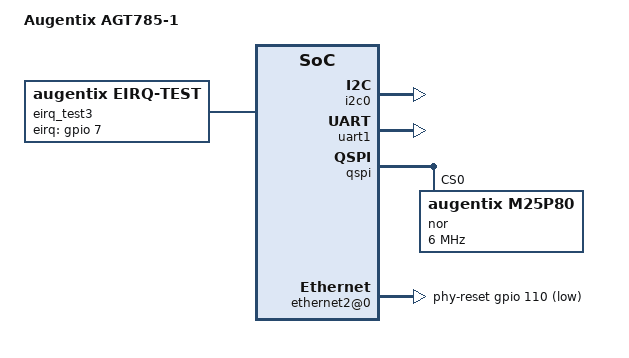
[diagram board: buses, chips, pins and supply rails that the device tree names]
/dts-v1/;
#include "hc1785.dtsi"

/ {
	model = "Augentix AGT785-1";

	soc@80000000 {
		i2c0: i2c@0 {
			status = "okay";
		};

		i2c1: i2c@1 {
			status = "disable";
			wm8731: wm8731@1a {
				compatible = "wm8731";
				reg = <0x1a>;
			status = "disable";
			};
		};

		i2c2: i2c@2 {
			status = "disable";
		};

		uart1: uart@1 {
			status = "okay";
		};

		uart2: uart@2 {
			status = "disable";
		};

		sdc0: sdhci0@0 {
			sdc-cd-gpio-num = <5>;
			sdpwren-gpios = <&gpio 46 GPIO_ACTIVE_LOW>;
			status = "disable";
		};

		sdc1: sdhci1@0 {
			// status = "okay";
		};

		sdc2: sdhci2@0 {
			// status = "okay";
		};

		pwm: pwm@0 {
			// status = "okay";
		};

		usb2_phy0: utmi_phy0@0 {
			//status = "okay";
			status = "disable";
		};

		usbc2: agtx-usb2@0 {
			dr_mode = "host";
			//status = "okay";
			status = "disable";
		};

		usb2_phy1: utmi_phy1@0 {
			//status = "okay";
			status = "disable";
		};

		usb3_phy: pipe3_phy@0 {
			//status = "okay";
			status = "disable";
		};

		usbc3: agtx-usb3@0 {
			dr_mode = "peripheral";
			//status = "okay";
			status = "disable";
		};

		mpp {
			vbs {
				size = <286>;
			};

			senif@0 {
				snsop-override = <1>;
				sensor0 {
					port = <1>;
				};
			};

			is@0 {
				isw-buf-num = <3>;
			};

			isp@0 {
				nrw-buf-num = <1>;
			};

			enc@0 {
				bsb-size = <0x200000 0x100000>;
				rd-buf-size = <0x60000>;
				snapshot-size = <0x60000>;
				rd-buf-num = <6>;
			};
		};

		qspi: spi@100 {
			status = "okay";
			nor@0{
				#address-cells = <1>;
				#size-cells = <1>;
				compatible = "augentix,m25p80", "augentix,spi-nor";
				reg = <0>;
				spi-max-frequency = <6000000>;
				spi-tx-bus-width = <1>;
				spi-rx-bus-width = <2>;
				m25p,fast-read;
				status = "okay";
			};
		};

		gpio: gpio@0 {
			pioc0_gpio = <0x0 0x0>;
			pioc1_gpio = <0x0 0x0>;
			pioc2_gpio = <0x0 0x0>;
			pioc3_gpio = <0x0 0x0>;
			status = "okay";
		};

		gpio_test: gpio_test {
			compatible = "augentix,gpio-test";
			pmuioc-gpios = <&gpio 49 GPIO_ACTIVE_HIGH>, <&gpio 50 GPIO_ACTIVE_HIGH>, <&gpio 51 GPIO_ACTIVE_HIGH>;
			pioc0-gpios = <&gpio 0 GPIO_ACTIVE_HIGH>, <&gpio 15 GPIO_ACTIVE_HIGH>, <&gpio 20 GPIO_ACTIVE_HIGH>, <&gpio 25 GPIO_ACTIVE_HIGH>, <&gpio 31 GPIO_ACTIVE_HIGH>;
			pioc1-gpios = <&gpio 32 GPIO_ACTIVE_HIGH>, <&gpio 40 GPIO_ACTIVE_HIGH>, <&gpio 42 GPIO_ACTIVE_HIGH>, <&gpio 45 GPIO_ACTIVE_HIGH>, <&gpio 48 GPIO_ACTIVE_HIGH>;
			status = "disable";
		};

		clk_test: clk_test {
			compatible = "augentix,clk-test";
			clocks = <&clkc 0>, <&clkc 1>, <&clkc 2>, <&clkc 3>, <&clkc 4>, <&clkc 5>, <&clkc 6>, <&clkc 7>, <&clkc 8>, <&clkc 9>, <&clkc 10>, <&clkc 11>, <&clkc 12>, <&clkc 13>, <&clkc 14>, <&clkc 15>, <&clkc 16>, <&clkc 17>, <&clkc 18>, <&clkc 19>, <&clkc 20>, <&clkc 21>, <&clkc 22>, <&clkc 23>, <&clkc 24>, <&clkc 25>, <&clkc 26>, <&clkc 27>, <&clkc 28>, <&clkc 29>, <&clkc 30>, <&clkc 31>, <&clkc 32>, <&clkc 33>, <&clkc 34>, <&clkc 35>, <&clkc 36>, <&clkc 37>, <&clkc 38>, <&clkc 39>, <&clkc 40>, <&clkc 41>, <&clkc 42>, <&clkc 43>, <&clkc 44>, <&clkc 45>, <&clkc 46>, <&clkc 47>, <&clkc 48>, <&clkc 49>, <&clkc 50>, <&clkc 51>, <&clkc 52>, <&clkc 53>;
			status = "disable";
		};

		eirq_test3: eirq_test3 {
 			compatible = "augentix,eirq-test";
 			interrupt-parent = <&gic>;
 			interrupts = <0 92 4>, <0 93 4>, <0 94 4>, <0 95 4>, <0 96 4>;
			eirq-gpios = <&gpio 7 GPIO_ACTIVE_HIGH>;
 			//status = "okay";
 		};
 
		ethernet2@0 {
			status = "okay";
			phy-reset-gpios = <&gpio 110 GPIO_ACTIVE_HIGH>;
		};

		adc@0 {
			status = "disable";
		};

		audio_pcm@0 {
			status = "okay";
			audio-output-amp-en-gpios = <&gpio 1 GPIO_ACTIVE_HIGH>;
			i2s-rx = <1>;
			i2s-rx_ck = <1>;
			i2s-rx_ws = <1>;
			i2s-tx = <1>;
			i2s-tx_ck = <0>;
			i2s-tx_ws = <1>;
		};

		audio_machine {
			status = "okay";
			audio-codec = <&wm8731>;
		};
	};
};
